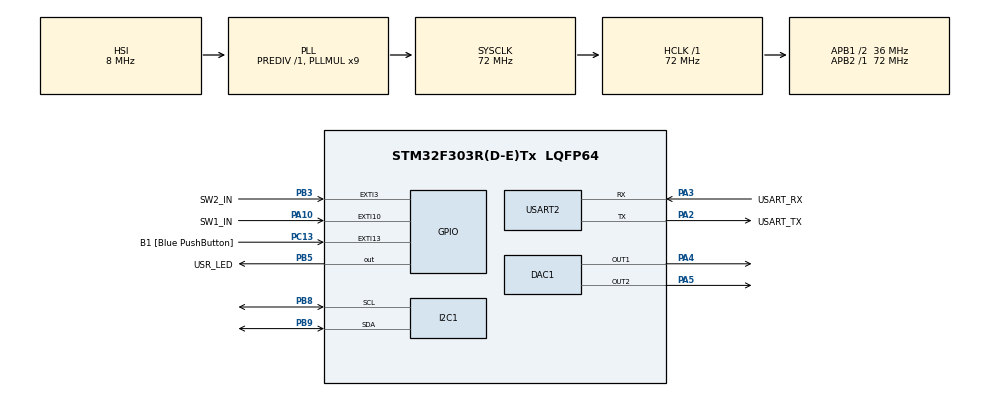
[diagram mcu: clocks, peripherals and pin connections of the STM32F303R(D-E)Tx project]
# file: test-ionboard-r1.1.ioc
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Mcu.Family=STM32F3
Mcu.Name=STM32F303R(D-E)Tx
Mcu.Package=LQFP64
NVIC.EXTI15_10_IRQn=true\:0\:0\:false\:true\:true\:2\:true\:true
NVIC.EXTI3_IRQn=true\:0\:0\:false\:true\:true\:1\:true\:true
NVIC.PriorityGroup=NVIC_PRIORITYGROUP_0
PA10.GPIO_Label=SW1_IN
PA10.GPIO_ModeDefaultEXTI=GPIO_MODE_IT_FALLING
PA10.GPIO_PuPd=GPIO_PULLUP
PA10.Signal=GPXTI10
PA13.GPIO_Label=TMS
PA13.Mode=Serial_Wire
PA13.Signal=SYS_JTMS-SWDIO
PA14.GPIO_Label=TCK
PA14.Mode=Serial_Wire
PA14.Signal=SYS_JTCK-SWCLK
PA2.GPIO_Label=USART_TX
PA2.GPIO_Mode=GPIO_MODE_AF_PP
PA2.GPIO_PuPd=GPIO_NOPULL
PA2.GPIO_Speed=GPIO_SPEED_FREQ_LOW
PA2.Mode=Asynchronous
PA2.Signal=USART2_TX
PA3.GPIO_Label=USART_RX
PA3.GPIO_Mode=GPIO_MODE_AF_PP
PA3.GPIO_PuPd=GPIO_NOPULL
PA3.GPIO_Speed=GPIO_SPEED_FREQ_LOW
PA3.Mode=Asynchronous
PA3.Signal=USART2_RX
PA4.Signal=COMP_DAC11_group
PA5.Signal=COMP_DAC12_group
PB3.GPIO_Label=SW2_IN
PB3.GPIO_ModeDefaultEXTI=GPIO_MODE_IT_FALLING
PB3.GPIO_PuPd=GPIO_PULLUP
PB3.Signal=GPXTI3
PB5.GPIO_Label=USR_LED
PB5.Signal=GPIO_Output
PB8.Mode=I2C
PB8.Signal=I2C1_SCL
PB9.Mode=I2C
PB9.Signal=I2C1_SDA
PC13.GPIO_Label=B1 [Blue PushButton]
PC13.GPIO_ModeDefaultEXTI=GPIO_MODE_IT_FALLING
PC13.Signal=GPXTI13
PC14-OSC32_IN.Mode=LSE-External-Oscillator
PC14-OSC32_IN.Signal=RCC_OSC32_IN
PC15-OSC32_OUT.Mode=LSE-External-Oscillator
PC15-OSC32_OUT.Signal=RCC_OSC32_OUT
PF0-OSC_IN.Mode=HSE-External-Clock-Source
PF0-OSC_IN.Signal=RCC_OSC_IN
PF1-OSC_OUT.Signal=RCC_OSC_OUT
ProjectManager.HeapSize=0x200
ProjectManager.StackSize=0x400
ProjectManager.TargetToolchain=STM32CubeIDE
RCC.AHBFreq_Value=72000000
RCC.APB1CLKDivider=RCC_HCLK_DIV2
RCC.APB1Freq_Value=36000000
RCC.APB1TimFreq_Value=72000000
RCC.APB2Freq_Value=72000000
RCC.APB2TimFreq_Value=72000000
RCC.CortexFreq_Value=72000000
RCC.HCLKFreq_Value=72000000
RCC.HSE_VALUE=8000000
RCC.HSI_VALUE=8000000
RCC.PLLM=8
RCC.PLLMUL=RCC_PLL_MUL9
RCC.PLLN=336
RCC.PLLP=RCC_PLLP_DIV4
RCC.PLLQ=7
RCC.RCC_PLLsource_Clock_Source_FROM_HSE=RCC_HSE_PREDIV_DIV2
RCC.SYSCLKFreq_VALUE=72000000
RCC.SYSCLKSourceVirtual=RCC_SYSCLKSOURCE_PLLCLK
RCC.USBFreq_Value=72000000
SH.COMP_DAC11_group.0=DAC1_OUT1,DAC_OUT1
SH.COMP_DAC12_group.0=DAC1_OUT2,Enable_DAC_OUT2
USART2.VirtualMode-Asynchronous=VM_ASYNC
board=NUCLEO-F303RE

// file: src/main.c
/* USER CODE BEGIN Header */
/**
  ******************************************************************************
  * @file           : main.c
  * @brief          : Main program body
  ******************************************************************************
  * @attention
  *
  * <h2><center>&copy; Copyright (c) 2019 STMicroelectronics.
  * Copyright (c) 2022 Makermax Systems Inc..
  * All rights reserved.</center></h2>
  *
  * This software component is licensed by ST under BSD 3-Clause license,
  * the "License"; You may not use this file except in compliance with the
  * License. You may obtain a copy of the License at:
  *                        opensource.org/licenses/BSD-3-Clause
  *
  ******************************************************************************
  */
/* USER CODE END Header */

#include "main.h"

/* USER CODE BEGIN Includes */

#include "oled.h"
#include "adc.h"
#include "dac.h"

/* USER CODE END Includes */

DAC_HandleTypeDef hdac1;

I2C_HandleTypeDef hi2c1;

UART_HandleTypeDef huart2;

/* USER CODE BEGIN PV */

typedef enum {
	CHG_ENABLE = 1, CHG_DISABLE = 0
} CHG_EN;

typedef enum {
	IDLE = 0, CHG = 1, DCHG = 2
} STATE;

/* USER CODE END PV */

void SystemClock_Config(void);
static void MX_GPIO_Init(void);
static void MX_USART2_UART_Init(void);
static void MX_I2C1_Init(void);
static void MX_DAC1_Init(void);
static void MX_NVIC_Init(void);
/* USER CODE BEGIN PFP */

STATE currentState = IDLE;
uint8_t currentDchgPct = 0;
uint8_t MCP342x_ADDR = 0x68;

static float lastReadBattV = 0;
static float lastReadCurr_mA = 0;
static float currentCellSOC = 0;
static float currChargeRemaining = 0; //Ah how much charge is remaining inside the cell
static const float fullChargeCapacity = 3.0 ; //Ah //TODO: Change this as per your cell
static float lastComputedPower = 0;
static float dchgCurrVal = 0.1;
static float chgCurrVal = 0.1;

void Charging_Enable(CHG_EN chg_en);
void Change_State(STATE new_state);
void Discharging_Set(uint8_t pct);
void Safety_Loop();
void calcSOC(float ocv_V, float chargeRemain_Ah);
void getLatestADCValues();
static void updateOLED();

/* USER CODE END PFP */

int main(void)
{

  /* MCU Configuration--------------------------------------------------------*/

  /* Reset of all peripherals, Initializes the Flash interface and the Systick. */
  HAL_Init();

  /* Configure the system clock */
  SystemClock_Config();

  /* Initialize all configured peripherals */
  MX_GPIO_Init();
  MX_USART2_UART_Init();
  MX_I2C1_Init();
  MX_DAC1_Init();

  /* Initialize interrupts */
  MX_NVIC_Init();
  /* USER CODE BEGIN 2 */

  //Initialize OLED display
  	ssd1306_Init();
  	ssd1306_Fill(Black);
  	ssd1306_WriteString("MakerMax", Font_7x10, White);
  	ssd1306_UpdateScreen();

  	//DAC code
	HAL_DAC_SetValue(&hdac1, DAC_CHANNEL_2, DAC_ALIGN_8B_R, 0);
	HAL_DAC_SetValue(&hdac1, DAC_CHANNEL_1, DAC_ALIGN_8B_R, 0);
	HAL_DAC_Start(&hdac1, DAC_CHANNEL_2);
	HAL_DAC_Start(&hdac1, DAC_CHANNEL_1);

    // ADC code
    mcp342x_return_code_t ret = MCP342x_RET_OK;

    // Create an instance of our mcp342x device
    mcp342x_dev_t dev;

    int8_t usr_i2c_write(const uint8_t busAddr, const uint8_t *data, const uint32_t len) {
	mcp342x_return_code_t ret = MCP342x_RET_OK;

	// Transmit the data to the specified device from the provided
	// data buffer.
	//HAL_I2C_Mem_Write(&hi2c1, 0b11010000, 0x0, I2C_MEMADD_SIZE_8BIT, data, len, 1500);

	HAL_I2C_Master_Transmit(&hi2c1, 0b11010000, data, len, 1500);

	return ret;
    }

    int8_t usr_i2c_read(const uint8_t busAddr, uint8_t *data, const uint32_t len) {
        mcp342x_return_code_t ret = MCP342x_RET_OK;

    // Received the specified amount of data from the device and store it
    // in the data buffer
    //HAL_I2C_Mem_Read(&hi2c1, 0b11010000, 0x0, I2C_MEMADD_SIZE_8BIT, data, len, 1500);

     HAL_I2C_Master_Receive(&hi2c1, 0b11010000, data, len, 1500);

        return ret;
    }

    void usr_delay_us(uint32_t period) {
        // Delay for the requested period
    	HAL_Delay(period/1000);
    }

    // Provide the hardware abstraction functions for
    // I2c Read/Write and a micro-second delay function
    dev.intf.i2c_addr = MCP342x_ADDR;
    dev.intf.write = usr_i2c_write;
    dev.intf.read = usr_i2c_read;
    dev.intf.delay_us = usr_delay_us;

    // Init our desired config
    dev.registers.bits.config.bits.conv_mode = MCP342x_CM_CONT;
    dev.registers.bits.config.bits.gain = MCP342x_GAIN_x1;
    dev.registers.bits.config.bits.sample_rate = MCP342x_SR_15SPS;

    ret = mcp342x_writeConfig(&dev);

    if( MCP342x_RET_OK != ret ) {
           return 0;
       }

	char currentString[10];
	float chgcurrent = 0.0;
	float dchgcurrent = 0.0;

  /* USER CODE END 2 */

  /* Infinite loop */
  /* USER CODE BEGIN WHILE */
  while (1)
  {
	  ret = mcp342x_sampleChannel(&dev, MCP342x_CH_1);
	  ret = mcp342x_sampleChannel(&dev, MCP342x_CH_2);
	  ret = mcp342x_sampleChannel(&dev, MCP342x_CH_3);
	  ret = mcp342x_sampleChannel(&dev, MCP342x_CH_4);

	  usr_delay_us(1000);

	if( MCP342x_RET_OK == ret ) {

		ssd1306_SetCursor(0, 0);
		sprintf(currentString, "Makermax: %d", currentState);
		ssd1306_WriteString(currentString, Font_7x10, White);
		ssd1306_UpdateScreen();

		ssd1306_SetCursor(15, 14);

		if(dev.results[0].voltage < 4.0)
		{
		chgcurrent = (float)(fabs(dev.results[0].voltage));
		chgcurrent = chgcurrent*1000.0;
		chgcurrent = chgcurrent/0.2;

		sprintf(currentString, "CHG_C: %0.1fmA", chgcurrent);
		ssd1306_WriteString(currentString, Font_7x10, White);
		}

		ssd1306_SetCursor(15, 25);

		if(dev.results[1].voltage < 4.0)
		{
		dchgcurrent = (float)(fabs(dev.results[1].voltage));
		dchgcurrent = dchgcurrent*1000.0;
		dchgcurrent = dchgcurrent/0.2;

		sprintf(currentString, "DCHG_C: %0.1fmA", dchgcurrent);
		ssd1306_WriteString(currentString, Font_7x10, White);
		}

		ssd1306_SetCursor(15, 37);
		sprintf(currentString, "BATT_V: %0.2fV", (dev.results[2].voltage*14700/4700));
		ssd1306_WriteString(currentString, Font_7x10, White);

		ssd1306_SetCursor(15, 49);
		sprintf(currentString, "TEMP: %0.2fV", dev.results[3].voltage);
		ssd1306_WriteString(currentString, Font_7x10, White);

		ssd1306_UpdateScreen();
	}

    /* USER CODE END WHILE */

  }
}

void SystemClock_Config(void)
{
  RCC_OscInitTypeDef RCC_OscInitStruct = {0};
  RCC_ClkInitTypeDef RCC_ClkInitStruct = {0};
  RCC_PeriphCLKInitTypeDef PeriphClkInit = {0};

  /** Initializes the CPU, AHB and APB busses clocks
  */
  RCC_OscInitStruct.OscillatorType = RCC_OSCILLATORTYPE_HSI;
  RCC_OscInitStruct.HSIState = RCC_HSI_ON;
  RCC_OscInitStruct.HSICalibrationValue = RCC_HSICALIBRATION_DEFAULT;
  RCC_OscInitStruct.PLL.PLLState = RCC_PLL_ON;
  RCC_OscInitStruct.PLL.PLLSource = RCC_PLLSOURCE_HSI;
  RCC_OscInitStruct.PLL.PLLMUL = RCC_PLL_MUL9;
  RCC_OscInitStruct.PLL.PREDIV = RCC_PREDIV_DIV1;
  if (HAL_RCC_OscConfig(&RCC_OscInitStruct) != HAL_OK)
  {
    Error_Handler();
  }
  /** Initializes the CPU, AHB and APB busses clocks
  */
  RCC_ClkInitStruct.ClockType = RCC_CLOCKTYPE_HCLK|RCC_CLOCKTYPE_SYSCLK
                              |RCC_CLOCKTYPE_PCLK1|RCC_CLOCKTYPE_PCLK2;
  RCC_ClkInitStruct.SYSCLKSource = RCC_SYSCLKSOURCE_PLLCLK;
  RCC_ClkInitStruct.AHBCLKDivider = RCC_SYSCLK_DIV1;
  RCC_ClkInitStruct.APB1CLKDivider = RCC_HCLK_DIV2;
  RCC_ClkInitStruct.APB2CLKDivider = RCC_HCLK_DIV1;

  if (HAL_RCC_ClockConfig(&RCC_ClkInitStruct, FLASH_LATENCY_2) != HAL_OK)
  {
    Error_Handler();
  }
  PeriphClkInit.PeriphClockSelection = RCC_PERIPHCLK_USART2|RCC_PERIPHCLK_I2C1;
  PeriphClkInit.Usart2ClockSelection = RCC_USART2CLKSOURCE_PCLK1;
  PeriphClkInit.I2c1ClockSelection = RCC_I2C1CLKSOURCE_HSI;
  if (HAL_RCCEx_PeriphCLKConfig(&PeriphClkInit) != HAL_OK)
  {
    Error_Handler();
  }
}

/**
  * @brief NVIC Configuration.
  * @retval None
  */
static void MX_NVIC_Init(void)
{
  /* EXTI3_IRQn interrupt configuration */
  HAL_NVIC_SetPriority(EXTI3_IRQn, 0, 0);
  HAL_NVIC_EnableIRQ(EXTI3_IRQn);
  /* EXTI15_10_IRQn interrupt configuration */
  HAL_NVIC_SetPriority(EXTI15_10_IRQn, 0, 0);
  HAL_NVIC_EnableIRQ(EXTI15_10_IRQn);
}

static void MX_DAC1_Init(void)
{

  DAC_ChannelConfTypeDef sConfig = {0};

  /** DAC Initialization
  */
  hdac1.Instance = DAC1;
  if (HAL_DAC_Init(&hdac1) != HAL_OK)
  {
    Error_Handler();
  }
  /** DAC channel OUT1 config
  */
  sConfig.DAC_Trigger = DAC_TRIGGER_NONE;
  sConfig.DAC_OutputBuffer = DAC_OUTPUTBUFFER_ENABLE;
  if (HAL_DAC_ConfigChannel(&hdac1, &sConfig, DAC_CHANNEL_1) != HAL_OK)
  {
    Error_Handler();
  }
  /** DAC channel OUT2 config
  */
  if (HAL_DAC_ConfigChannel(&hdac1, &sConfig, DAC_CHANNEL_2) != HAL_OK)
  {
    Error_Handler();
  }

}

static void MX_I2C1_Init(void)
{

  hi2c1.Instance = I2C1;
  hi2c1.Init.Timing = 0x2000090E;
  hi2c1.Init.OwnAddress1 = 0;
  hi2c1.Init.AddressingMode = I2C_ADDRESSINGMODE_7BIT;
  hi2c1.Init.DualAddressMode = I2C_DUALADDRESS_DISABLE;
  hi2c1.Init.OwnAddress2 = 0;
  hi2c1.Init.OwnAddress2Masks = I2C_OA2_NOMASK;
  hi2c1.Init.GeneralCallMode = I2C_GENERALCALL_DISABLE;
  hi2c1.Init.NoStretchMode = I2C_NOSTRETCH_DISABLE;
  if (HAL_I2C_Init(&hi2c1) != HAL_OK)
  {
    Error_Handler();
  }
  /** Configure Analogue filter
  */
  if (HAL_I2CEx_ConfigAnalogFilter(&hi2c1, I2C_ANALOGFILTER_ENABLE) != HAL_OK)
  {
    Error_Handler();
  }
  /** Configure Digital filter
  */
  if (HAL_I2CEx_ConfigDigitalFilter(&hi2c1, 0) != HAL_OK)
  {
    Error_Handler();
  }

}

static void MX_USART2_UART_Init(void)
{

  huart2.Instance = USART2;
  huart2.Init.BaudRate = 38400;
  huart2.Init.WordLength = UART_WORDLENGTH_8B;
  huart2.Init.StopBits = UART_STOPBITS_1;
  huart2.Init.Parity = UART_PARITY_NONE;
  huart2.Init.Mode = UART_MODE_TX_RX;
  huart2.Init.HwFlowCtl = UART_HWCONTROL_NONE;
  huart2.Init.OverSampling = UART_OVERSAMPLING_16;
  huart2.Init.OneBitSampling = UART_ONE_BIT_SAMPLE_DISABLE;
  huart2.AdvancedInit.AdvFeatureInit = UART_ADVFEATURE_NO_INIT;
  if (HAL_UART_Init(&huart2) != HAL_OK)
  {
    Error_Handler();
  }

}

static void MX_GPIO_Init(void)
{
  GPIO_InitTypeDef GPIO_InitStruct = {0};

  /* GPIO Ports Clock Enable */
  __HAL_RCC_GPIOC_CLK_ENABLE();
  __HAL_RCC_GPIOF_CLK_ENABLE();
  __HAL_RCC_GPIOA_CLK_ENABLE();
  __HAL_RCC_GPIOB_CLK_ENABLE();

  /*Configure GPIO pin Output Level */
  HAL_GPIO_WritePin(USR_LED_GPIO_Port, USR_LED_Pin, GPIO_PIN_RESET);

  /*Configure GPIO pin : B1_Pin */
  GPIO_InitStruct.Pin = B1_Pin;
  GPIO_InitStruct.Mode = GPIO_MODE_IT_FALLING;
  GPIO_InitStruct.Pull = GPIO_NOPULL;
  HAL_GPIO_Init(B1_GPIO_Port, &GPIO_InitStruct);

  /*Configure GPIO pin : SW1_IN_Pin */
  GPIO_InitStruct.Pin = SW1_IN_Pin;
  GPIO_InitStruct.Mode = GPIO_MODE_IT_FALLING;
  GPIO_InitStruct.Pull = GPIO_PULLUP;
  HAL_GPIO_Init(SW1_IN_GPIO_Port, &GPIO_InitStruct);

  /*Configure GPIO pin : SW2_IN_Pin */
  GPIO_InitStruct.Pin = SW2_IN_Pin;
  GPIO_InitStruct.Mode = GPIO_MODE_IT_FALLING;
  GPIO_InitStruct.Pull = GPIO_PULLUP;
  HAL_GPIO_Init(SW2_IN_GPIO_Port, &GPIO_InitStruct);

  /*Configure GPIO pin : USR_LED_Pin */
  GPIO_InitStruct.Pin = USR_LED_Pin;
  GPIO_InitStruct.Mode = GPIO_MODE_OUTPUT_PP;
  GPIO_InitStruct.Pull = GPIO_NOPULL;
  GPIO_InitStruct.Speed = GPIO_SPEED_FREQ_LOW;
  HAL_GPIO_Init(USR_LED_GPIO_Port, &GPIO_InitStruct);

}

/* USER CODE BEGIN 4 */

void HAL_GPIO_EXTI_Callback(uint16_t GPIO_Pin)
{

	if(SW1_IN_Pin == GPIO_Pin)
	{
		if(HAL_GPIO_ReadPin(SW2_IN_GPIO_Port,SW2_IN_Pin) == GPIO_PIN_RESET)
		{
			//Change mode
			currentState++;
			if (currentState>2)
			{
				currentState=0;
			}
		}
		HAL_GPIO_TogglePin(USR_LED_GPIO_Port,USR_LED_Pin);

		if(currentState == DCHG)
		{
			chgCurrVal = 0.0;
			dchgCurrVal -= 100.0;
			if(dchgCurrVal < 0)
			{
				dchgCurrVal = 0;
			}
			HAL_DAC_SetValue(&hdac1, DAC_CHANNEL_1, DAC_ALIGN_8B_R, dchgCurrVal/8.77);
			HAL_DAC_SetValue(&hdac1, DAC_CHANNEL_2, DAC_ALIGN_8B_R, chgCurrVal/8.77);
			HAL_DAC_Start(&hdac1, DAC_CHANNEL_2);
			HAL_DAC_Start(&hdac1, DAC_CHANNEL_1);

		}
		else if(currentState == CHG)
		{
			dchgCurrVal = 0.0;
			chgCurrVal -= 100.0;
			if(chgCurrVal < 0)
			{
				chgCurrVal = 0;
			}
			HAL_DAC_SetValue(&hdac1, DAC_CHANNEL_2, DAC_ALIGN_8B_R, chgCurrVal/8.77);
			HAL_DAC_SetValue(&hdac1, DAC_CHANNEL_1, DAC_ALIGN_8B_R, dchgCurrVal/8.77);
			HAL_DAC_Start(&hdac1, DAC_CHANNEL_1);
			HAL_DAC_Start(&hdac1, DAC_CHANNEL_2);

		}
		else
		{
			dchgCurrVal = 0.0;
			chgCurrVal = 0.0;
			HAL_DAC_SetValue(&hdac1, DAC_CHANNEL_2, DAC_ALIGN_8B_R, chgCurrVal);
			HAL_DAC_SetValue(&hdac1, DAC_CHANNEL_1, DAC_ALIGN_8B_R, dchgCurrVal);
			HAL_DAC_Stop(&hdac1, DAC_CHANNEL_1);
			HAL_DAC_Stop(&hdac1, DAC_CHANNEL_2);

		}
	}
	else if(SW2_IN_Pin == GPIO_Pin)
	{
		if(HAL_GPIO_ReadPin(SW1_IN_GPIO_Port,SW1_IN_Pin) == GPIO_PIN_RESET)
		{
			//Change mode
			currentState++;
			if (currentState>2)
			{
				currentState=0;
			}
		}
		HAL_GPIO_TogglePin(USR_LED_GPIO_Port,USR_LED_Pin);

		chgCurrVal += 100.0;
		HAL_DAC_SetValue(&hdac1, DAC_CHANNEL_2, DAC_ALIGN_8B_R, chgCurrVal/8.77);
		HAL_DAC_SetValue(&hdac1, DAC_CHANNEL_1, DAC_ALIGN_8B_R, dchgCurrVal/8.77);
		HAL_DAC_Start(&hdac1, DAC_CHANNEL_2);
		HAL_DAC_Start(&hdac1, DAC_CHANNEL_1);

		if(currentState == DCHG)
		{
			chgCurrVal = 0.0;
			dchgCurrVal += 100.0;
			HAL_DAC_SetValue(&hdac1, DAC_CHANNEL_2, DAC_ALIGN_8B_R, chgCurrVal/8.77);
			HAL_DAC_SetValue(&hdac1, DAC_CHANNEL_1, DAC_ALIGN_8B_R, dchgCurrVal/8.77);
			HAL_DAC_Start(&hdac1, DAC_CHANNEL_2);
			HAL_DAC_Start(&hdac1, DAC_CHANNEL_1);
		}
		else if(currentState == CHG)
		{
			dchgCurrVal = 0.0;
			chgCurrVal += 100.0;
			HAL_DAC_SetValue(&hdac1, DAC_CHANNEL_2, DAC_ALIGN_8B_R, chgCurrVal/8.77);
			HAL_DAC_SetValue(&hdac1, DAC_CHANNEL_1, DAC_ALIGN_8B_R, dchgCurrVal/8.77);
			HAL_DAC_Start(&hdac1, DAC_CHANNEL_1);
			HAL_DAC_Start(&hdac1, DAC_CHANNEL_2);

		}
		else
		{
			dchgCurrVal = 0.0;
			chgCurrVal = 0.0;
			HAL_DAC_SetValue(&hdac1, DAC_CHANNEL_2, DAC_ALIGN_8B_R, chgCurrVal);
			HAL_DAC_SetValue(&hdac1, DAC_CHANNEL_1, DAC_ALIGN_8B_R, dchgCurrVal);

			HAL_DAC_Stop(&hdac1, DAC_CHANNEL_1);
			HAL_DAC_Stop(&hdac1, DAC_CHANNEL_2);
		}
	}

}

/* USER CODE END 4 */

void Error_Handler(void)
{
}

/************************ (C) COPYRIGHT STMicroelectronics *****END OF FILE****/
